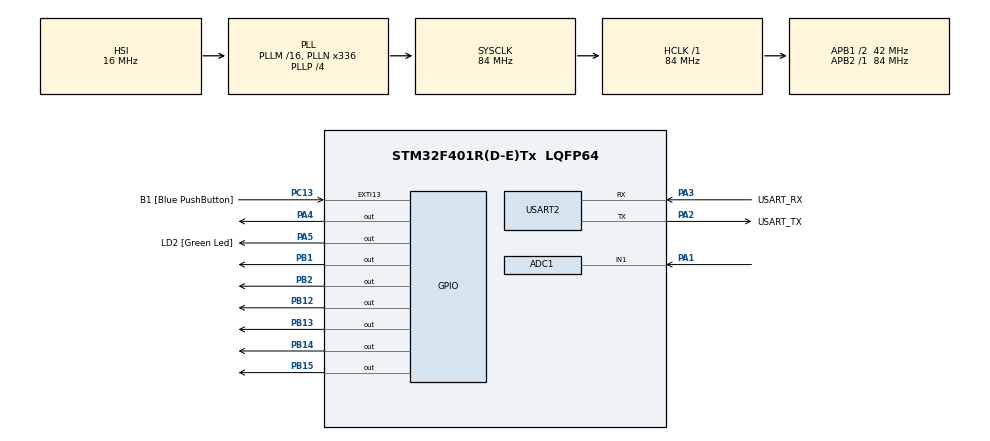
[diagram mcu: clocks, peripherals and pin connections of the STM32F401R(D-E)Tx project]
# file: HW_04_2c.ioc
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ADC1.Channel-0\#ChannelRegularConversion=ADC_CHANNEL_1
ADC1.ExternalTrigConv=ADC_EXTERNALTRIGCONV_T2_TRGO
ADC1.NbrOfConversionFlag=1
ADC1.Rank-0\#ChannelRegularConversion=1
ADC1.SamplingTime-0\#ChannelRegularConversion=ADC_SAMPLETIME_3CYCLES
ADC1.master=1
Mcu.Family=STM32F4
Mcu.Name=STM32F401R(D-E)Tx
Mcu.Package=LQFP64
NVIC.ADC_IRQn=true\:0\:0\:false\:false\:true\:true\:true\:true
NVIC.PriorityGroup=NVIC_PRIORITYGROUP_0
PA1.Signal=ADCx_IN1
PA13.GPIO_Label=TMS
PA13.Mode=Serial_Wire
PA13.Signal=SYS_JTMS-SWDIO
PA14.GPIO_Label=TCK
PA14.Mode=Serial_Wire
PA14.Signal=SYS_JTCK-SWCLK
PA2.GPIO_Label=USART_TX
PA2.GPIO_Mode=GPIO_MODE_AF_PP
PA2.GPIO_PuPd=GPIO_NOPULL
PA2.GPIO_Speed=GPIO_SPEED_FREQ_LOW
PA2.Mode=Asynchronous
PA2.Signal=USART2_TX
PA3.GPIO_Label=USART_RX
PA3.GPIO_Mode=GPIO_MODE_AF_PP
PA3.GPIO_PuPd=GPIO_NOPULL
PA3.GPIO_Speed=GPIO_SPEED_FREQ_LOW
PA3.Mode=Asynchronous
PA3.Signal=USART2_RX
PA4.Signal=GPIO_Output
PA5.GPIO_Label=LD2 [Green Led]
PA5.GPIO_Mode=GPIO_MODE_OUTPUT_PP
PA5.GPIO_PuPd=GPIO_NOPULL
PA5.GPIO_Speed=GPIO_SPEED_FREQ_LOW
PA5.Signal=GPIO_Output
PB1.Signal=GPIO_Output
PB12.Signal=GPIO_Output
PB13.Signal=GPIO_Output
PB14.Signal=GPIO_Output
PB15.Signal=GPIO_Output
PB2.Signal=GPIO_Output
PB3.GPIO_Label=SWO
PB3.Signal=SYS_JTDO-SWO
PC13-ANTI_TAMP.GPIO_Label=B1 [Blue PushButton]
PC13-ANTI_TAMP.GPIO_ModeDefaultEXTI=GPIO_MODE_IT_FALLING
PC13-ANTI_TAMP.GPIO_PuPd=GPIO_NOPULL
PC13-ANTI_TAMP.Signal=GPXTI13
PC14-OSC32_IN.Mode=LSE-External-Oscillator
PC14-OSC32_IN.Signal=RCC_OSC32_IN
PC15-OSC32_OUT.Mode=LSE-External-Oscillator
PC15-OSC32_OUT.Signal=RCC_OSC32_OUT
PH0\ -\ OSC_IN.Mode=HSE-External-Clock-Source
PH0\ -\ OSC_IN.Signal=RCC_OSC_IN
PH1\ -\ OSC_OUT.Mode=HSE-External-Clock-Source
PH1\ -\ OSC_OUT.Signal=RCC_OSC_OUT
ProjectManager.HeapSize=0x200
ProjectManager.StackSize=0x400
ProjectManager.TargetToolchain=STM32CubeIDE
RCC.48MHZClocksFreq_Value=48000000
RCC.AHBFreq_Value=84000000
RCC.APB1CLKDivider=RCC_HCLK_DIV2
RCC.APB1Freq_Value=42000000
RCC.APB1TimFreq_Value=84000000
RCC.APB2Freq_Value=84000000
RCC.APB2TimFreq_Value=84000000
RCC.CortexFreq_Value=84000000
RCC.HCLKFreq_Value=84000000
RCC.HSE_VALUE=8000000
RCC.HSI_VALUE=16000000
RCC.PLLN=336
RCC.PLLP=RCC_PLLP_DIV4
RCC.PLLQ=7
RCC.SYSCLKFreq_VALUE=84000000
RCC.SYSCLKSource=RCC_SYSCLKSOURCE_PLLCLK
RCC.VCOOutputFreq_Value=336000000
SH.ADCx_IN1.0=ADC1_IN1,IN1
TIM2.Channel-PWM\ Generation1\ No\ Output=TIM_CHANNEL_1
TIM2.Period=2500-1
TIM2.Prescaler=8400-1
TIM2.TIM_MasterOutputTrigger=TIM_TRGO_UPDATE
USART2.VirtualMode=VM_ASYNC
VP_TIM2_VS_no_output1.Mode=PWM Generation1 No Output
board=NUCLEO-F401RE

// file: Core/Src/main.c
/* USER CODE BEGIN Header */
/**
  ******************************************************************************
  * @file           : main.c
  * @brief          : Main program body
  ******************************************************************************
  * @attention
  *
  * Copyright (c) 2023 STMicroelectronics.
  * All rights reserved.
  *
  * This software is licensed under terms that can be found in the LICENSE file
  * in the root directory of this software component.
  * If no LICENSE file comes with this software, it is provided AS-IS.
  *
  ******************************************************************************
  */
/* USER CODE END Header */
#include "main.h"

/* USER CODE BEGIN Includes */
#include "stdio.h"
#include "PMDB16_LCD.h"
/* USER CODE END Includes */

ADC_HandleTypeDef hadc1;

TIM_HandleTypeDef htim2;

UART_HandleTypeDef huart2;

/* USER CODE BEGIN PV */
uint32_t adc_val = 0;
float value_volt = 0;
char buff[20];
uint8_t length = 0;
uint8_t bar_val = 0;
/* USER CODE END PV */

void SystemClock_Config(void);
static void MX_GPIO_Init(void);
static void MX_USART2_UART_Init(void);
static void MX_ADC1_Init(void);
static void MX_TIM2_Init(void);
/* USER CODE BEGIN PFP */
void HAL_ADC_ConvCpltCallback(ADC_HandleTypeDef *hadc){
	//get ADC value
	adc_val = HAL_ADC_GetValue(&hadc1);
	//convert it in the 0-3.3 range in float
	value_volt = adc_val*3.3/4096.0;
	length = snprintf(buff, sizeof(buff),"Voltage: %.3f V\r\n",value_volt);

	//convert the ADC value in a value between 0 to 80 for the bargraph
	bar_val = (adc_val * 80)/4096;
	//print the value on the LCD
	lcd_println(buff,0);
	lcd_drawBar(bar_val);
};
/* USER CODE END PFP */

int main(void)
{

  /* MCU Configuration--------------------------------------------------------*/

  /* Reset of all peripherals, Initializes the Flash interface and the Systick. */
  HAL_Init();

  /* Configure the system clock */
  SystemClock_Config();

  /* Initialize all configured peripherals */
  MX_GPIO_Init();
  MX_USART2_UART_Init();
  MX_ADC1_Init();
  MX_TIM2_Init();
  /* USER CODE BEGIN 2 */

  //initialize the LCD
  lcd_initialize();
  lcd_clear();

  //start the ADC in interrupt mode
  if(HAL_ADC_Start_IT(&hadc1) != HAL_OK)
	  Error_Handler();

  //start the 0.2s timer (as suggested in the slides)
  if(HAL_TIM_PWM_Start(&htim2, TIM_CHANNEL_1)!= HAL_OK)
  	  Error_Handler();
  /* USER CODE END 2 */

  /* Infinite loop */
  while (1)
  {

  }
}

void SystemClock_Config(void)
{
  RCC_OscInitTypeDef RCC_OscInitStruct = {0};
  RCC_ClkInitTypeDef RCC_ClkInitStruct = {0};

  /** Configure the main internal regulator output voltage
  */
  __HAL_RCC_PWR_CLK_ENABLE();
  __HAL_PWR_VOLTAGESCALING_CONFIG(PWR_REGULATOR_VOLTAGE_SCALE2);

  /** Initializes the RCC Oscillators according to the specified parameters
  * in the RCC_OscInitTypeDef structure.
  */
  RCC_OscInitStruct.OscillatorType = RCC_OSCILLATORTYPE_HSI;
  RCC_OscInitStruct.HSIState = RCC_HSI_ON;
  RCC_OscInitStruct.HSICalibrationValue = RCC_HSICALIBRATION_DEFAULT;
  RCC_OscInitStruct.PLL.PLLState = RCC_PLL_ON;
  RCC_OscInitStruct.PLL.PLLSource = RCC_PLLSOURCE_HSI;
  RCC_OscInitStruct.PLL.PLLM = 16;
  RCC_OscInitStruct.PLL.PLLN = 336;
  RCC_OscInitStruct.PLL.PLLP = RCC_PLLP_DIV4;
  RCC_OscInitStruct.PLL.PLLQ = 7;
  if (HAL_RCC_OscConfig(&RCC_OscInitStruct) != HAL_OK)
  {
    Error_Handler();
  }

  /** Initializes the CPU, AHB and APB buses clocks
  */
  RCC_ClkInitStruct.ClockType = RCC_CLOCKTYPE_HCLK|RCC_CLOCKTYPE_SYSCLK
                              |RCC_CLOCKTYPE_PCLK1|RCC_CLOCKTYPE_PCLK2;
  RCC_ClkInitStruct.SYSCLKSource = RCC_SYSCLKSOURCE_PLLCLK;
  RCC_ClkInitStruct.AHBCLKDivider = RCC_SYSCLK_DIV1;
  RCC_ClkInitStruct.APB1CLKDivider = RCC_HCLK_DIV2;
  RCC_ClkInitStruct.APB2CLKDivider = RCC_HCLK_DIV1;

  if (HAL_RCC_ClockConfig(&RCC_ClkInitStruct, FLASH_LATENCY_2) != HAL_OK)
  {
    Error_Handler();
  }
}

static void MX_ADC1_Init(void)
{

  ADC_ChannelConfTypeDef sConfig = {0};

  /** Configure the global features of the ADC (Clock, Resolution, Data Alignment and number of conversion)
  */
  hadc1.Instance = ADC1;
  hadc1.Init.ClockPrescaler = ADC_CLOCK_SYNC_PCLK_DIV4;
  hadc1.Init.Resolution = ADC_RESOLUTION_12B;
  hadc1.Init.ScanConvMode = DISABLE;
  hadc1.Init.ContinuousConvMode = DISABLE;
  hadc1.Init.DiscontinuousConvMode = DISABLE;
  hadc1.Init.ExternalTrigConvEdge = ADC_EXTERNALTRIGCONVEDGE_RISING;
  hadc1.Init.ExternalTrigConv = ADC_EXTERNALTRIGCONV_T2_TRGO;
  hadc1.Init.DataAlign = ADC_DATAALIGN_RIGHT;
  hadc1.Init.NbrOfConversion = 1;
  hadc1.Init.DMAContinuousRequests = DISABLE;
  hadc1.Init.EOCSelection = ADC_EOC_SINGLE_CONV;
  if (HAL_ADC_Init(&hadc1) != HAL_OK)
  {
    Error_Handler();
  }

  /** Configure for the selected ADC regular channel its corresponding rank in the sequencer and its sample time.
  */
  sConfig.Channel = ADC_CHANNEL_1;
  sConfig.Rank = 1;
  sConfig.SamplingTime = ADC_SAMPLETIME_3CYCLES;
  if (HAL_ADC_ConfigChannel(&hadc1, &sConfig) != HAL_OK)
  {
    Error_Handler();
  }

}

static void MX_TIM2_Init(void)
{

  TIM_MasterConfigTypeDef sMasterConfig = {0};
  TIM_OC_InitTypeDef sConfigOC = {0};

  htim2.Instance = TIM2;
  htim2.Init.Prescaler = 8400-1;
  htim2.Init.CounterMode = TIM_COUNTERMODE_UP;
  htim2.Init.Period = 2500-1;
  htim2.Init.ClockDivision = TIM_CLOCKDIVISION_DIV1;
  htim2.Init.AutoReloadPreload = TIM_AUTORELOAD_PRELOAD_DISABLE;
  if (HAL_TIM_PWM_Init(&htim2) != HAL_OK)
  {
    Error_Handler();
  }
  sMasterConfig.MasterOutputTrigger = TIM_TRGO_UPDATE;
  sMasterConfig.MasterSlaveMode = TIM_MASTERSLAVEMODE_DISABLE;
  if (HAL_TIMEx_MasterConfigSynchronization(&htim2, &sMasterConfig) != HAL_OK)
  {
    Error_Handler();
  }
  sConfigOC.OCMode = TIM_OCMODE_PWM1;
  sConfigOC.Pulse = 0;
  sConfigOC.OCPolarity = TIM_OCPOLARITY_HIGH;
  sConfigOC.OCFastMode = TIM_OCFAST_DISABLE;
  if (HAL_TIM_PWM_ConfigChannel(&htim2, &sConfigOC, TIM_CHANNEL_1) != HAL_OK)
  {
    Error_Handler();
  }

}

static void MX_USART2_UART_Init(void)
{

  huart2.Instance = USART2;
  huart2.Init.BaudRate = 115200;
  huart2.Init.WordLength = UART_WORDLENGTH_8B;
  huart2.Init.StopBits = UART_STOPBITS_1;
  huart2.Init.Parity = UART_PARITY_NONE;
  huart2.Init.Mode = UART_MODE_TX_RX;
  huart2.Init.HwFlowCtl = UART_HWCONTROL_NONE;
  huart2.Init.OverSampling = UART_OVERSAMPLING_16;
  if (HAL_UART_Init(&huart2) != HAL_OK)
  {
    Error_Handler();
  }

}

static void MX_GPIO_Init(void)
{
  GPIO_InitTypeDef GPIO_InitStruct = {0};

  /* GPIO Ports Clock Enable */
  __HAL_RCC_GPIOC_CLK_ENABLE();
  __HAL_RCC_GPIOH_CLK_ENABLE();
  __HAL_RCC_GPIOA_CLK_ENABLE();
  __HAL_RCC_GPIOB_CLK_ENABLE();

  /*Configure GPIO pin Output Level */
  HAL_GPIO_WritePin(GPIOA, GPIO_PIN_4|LD2_Pin, GPIO_PIN_RESET);

  /*Configure GPIO pin Output Level */
  HAL_GPIO_WritePin(GPIOB, GPIO_PIN_1|GPIO_PIN_2|GPIO_PIN_12|GPIO_PIN_13
                          |GPIO_PIN_14|GPIO_PIN_15, GPIO_PIN_RESET);

  /*Configure GPIO pin : B1_Pin */
  GPIO_InitStruct.Pin = B1_Pin;
  GPIO_InitStruct.Mode = GPIO_MODE_IT_FALLING;
  GPIO_InitStruct.Pull = GPIO_NOPULL;
  HAL_GPIO_Init(B1_GPIO_Port, &GPIO_InitStruct);

  /*Configure GPIO pins : PA4 LD2_Pin */
  GPIO_InitStruct.Pin = GPIO_PIN_4|LD2_Pin;
  GPIO_InitStruct.Mode = GPIO_MODE_OUTPUT_PP;
  GPIO_InitStruct.Pull = GPIO_NOPULL;
  GPIO_InitStruct.Speed = GPIO_SPEED_FREQ_LOW;
  HAL_GPIO_Init(GPIOA, &GPIO_InitStruct);

  /*Configure GPIO pins : PB1 PB2 PB12 PB13
                           PB14 PB15 */
  GPIO_InitStruct.Pin = GPIO_PIN_1|GPIO_PIN_2|GPIO_PIN_12|GPIO_PIN_13
                          |GPIO_PIN_14|GPIO_PIN_15;
  GPIO_InitStruct.Mode = GPIO_MODE_OUTPUT_PP;
  GPIO_InitStruct.Pull = GPIO_NOPULL;
  GPIO_InitStruct.Speed = GPIO_SPEED_FREQ_LOW;
  HAL_GPIO_Init(GPIOB, &GPIO_InitStruct);

}

void Error_Handler(void)
{
  __disable_irq();
  while (1)
  {
  }
}
